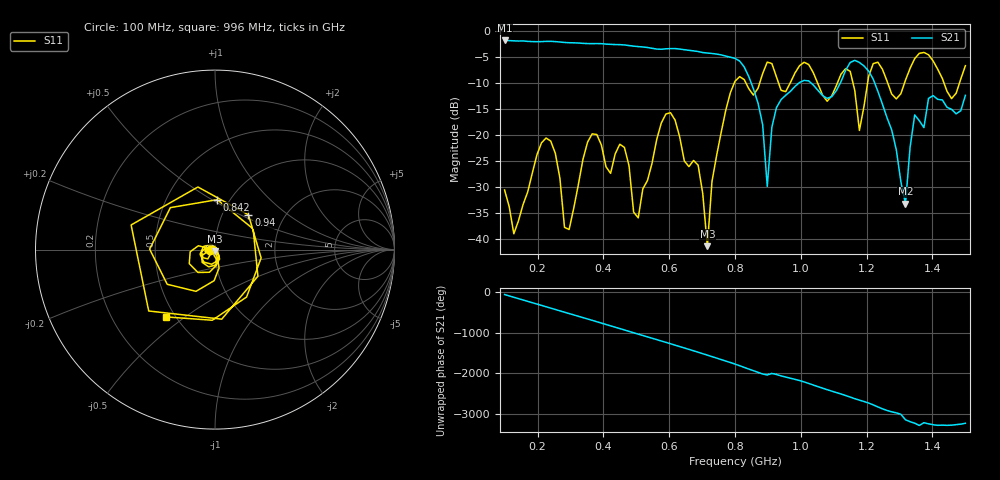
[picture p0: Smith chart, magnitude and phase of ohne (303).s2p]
! NanoVNA-App
! Date: 2025-09-25 14:23:09
! Start: 100MHz Stop: 1,5GHz Points: 101
! S-Parameter data: F S11 S21 S12 S22
# Hz S RI R 50
!  Frequency  S11_Real  S11_Imag  S21_Real  S21_Imag  S12_Real  S12_Imag  S22_Real  S22_Imag
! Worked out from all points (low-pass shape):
!   101 points, 100 MHz to 1.5 GHz, reference 50 ohm
!   highest |S21| = -1.79 dB at 100 MHz (marker M1); lowest = -33.3 dB at 1.318 GHz (marker M2)
!   |S21| within 3 dB of the highest: start of sweep to 771 MHz
!   lowest |S11| = -41.5 dB at 716 MHz (marker M3), VSWR 1.02, Z = 49.8 - j0.824 ohm
!   |S11| at or under -10 dB: start of sweep to 797.8 MHz; 833.3 MHz to 875 MHz (41.76 MHz wide, 4.89 % of centre); 1.051 GHz to 1.111 GHz (60.13 MHz wide, 5.56 % of centre) (the widest 3 of 7)
!   S12 and S22 are empty: the file has one direction only
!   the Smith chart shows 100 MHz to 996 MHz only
!   S11 on the Smith chart (normalised r, x): 100 MHz: 0.94, -0.01; 842 MHz: 0.88, +0.53; 940 MHz: 1.33, +0.55; 996 MHz: 0.44, -0.43
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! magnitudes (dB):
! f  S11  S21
! 100 MHz  -30.6  -1.8
! 128 MHz  -39.1  -1.9
! 226 MHz  -20.6  -2.0
! 296 MHz  -38.3  -2.2
! 338 MHz  -24.7  -2.4
! 464 MHz  -22.4  -2.7
! 506 MHz  -36.0  -3.0
! 576 MHz  -17.7  -3.5
! 688 MHz  -25.9  -3.9
! 716 MHz  -41.5  -4.2
! 800 MHz  -9.7  -5.3
! 842 MHz  -11.1  -8.8
! 898 MHz  -6.0  -29.9
! 940 MHz  -11.4  -13.2
! 996 MHz  -6.7  -9.9
! 1.038 GHz  -8.0  -10.4
! 1.178 GHz  -19.1  -6.0
! 1.22 GHz  -6.3  -9.3
! 1.276 GHz  -12.1  -19.0
! 1.318 GHz  -9.5  -33.3
! 1.346 GHz  -5.3  -16.2
! 1.5 GHz  -6.7  -12.4
